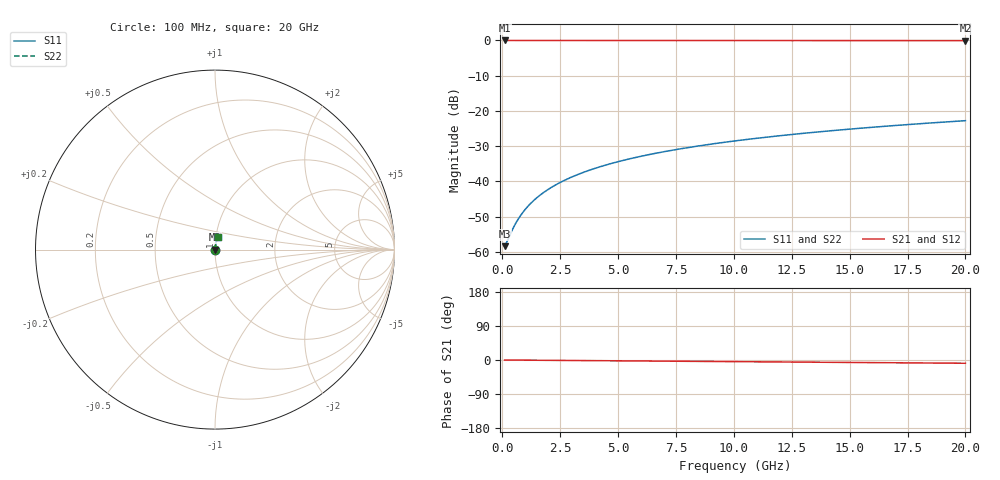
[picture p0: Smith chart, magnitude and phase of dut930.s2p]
! Touchstone file exported from HFSS 2026.1.0
!  File:  C:/ffzhzh/LocalFiles/Ansys_Project_Files/temp_train_TSV_930_1783186836_22436.aedt
!  Generated:  01:43:02 AM Jul  5, 2026
!  Design:  TSV
!  Project:  temp_train_TSV_930_1783186836_22436
! Variables:
!  h_bsmrdl = 2um
!  h_ox = 20um
!  h_rdl = 5um
!  h_sub = 77.77um
!  h_tmrdl = 5um
!  h_tsv = 77.77um
!  h_via = 3um
!  l_bsmrdl = 300um
!  l_sub = 405.66um
!  l_tmrdl = 200um
!  m_sub = 200um
!  pitch = 26.65um
!  r_tsv = 2.83um
!  s_tmrdl = 10um
!  w_bsmrdl = 18um
!  w_sub = 500um
!  w_tmrdl = 12um
!  x_tsv_center1 = 206um
!  x_tsv_center2 = 524um
!  x_tsv_center3 = 736um
!  x_tsv_center4 = 1054um
!  x_tsv_center5 = 1266um
!  x_tsv_center6 = 1584um
# GHz S MA R 50.000000
! Terminal data exported
! Port[1] = TSV1_1_T1
! Port[2] = TSV1_1_T2
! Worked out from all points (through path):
!   200 points, 100 MHz to 20 GHz, reference 50 ohm
!   highest |S21| = -0.01 dB at 100 MHz (marker M1); lowest = -0.1 dB at 20 GHz (marker M2)
!   group delay of S21, straight-line fit = 1.19 ps
!   lowest |S11| = -58.4 dB at 100 MHz (marker M3), VSWR 1.00, Z = 50.1 + j0.0395 ohm
!   |S11| at or under -10 dB: start of sweep to end of sweep
!   |S22| runs from -58.4 to -22.8 dB; largest |S21 - S12| = 5e-15
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0.1  0.0012 19.2  0.9989 -0.0  0.9989 -0.0  0.0012 19.2
! Gamma 0 0 0 0
! Port Impedance 50 0 50 0
0.2  0.001386 34.5  0.9989 -0.1  0.9989 -0.1  0.001386 34.5
0.4  0.001944 53.2  0.9988 -0.2  0.9988 -0.2  0.001944 53.2
0.5  0.002268 58.8  0.9988 -0.2  0.9988 -0.2  0.002268 58.8
0.7  0.002953 66.1  0.9988 -0.3  0.9988 -0.3  0.002953 66.1
0.8  0.003307 68.6  0.9988 -0.4  0.9988 -0.4  0.003307 68.6
1  0.00403 72.2  0.9988 -0.4  0.9988 -0.4  0.00403 72.2
1.3  0.005133 75.7  0.9988 -0.6  0.9988 -0.6  0.005133 75.7
1.7  0.006624 78.4  0.9987 -0.7  0.9987 -0.7  0.006624 78.4
2.2  0.008502 80.3  0.9987 -1.0  0.9987 -1.0  0.008502 80.3
2.8  0.01076 81.6  0.9986 -1.2  0.9986 -1.2  0.01076 81.6
3.5  0.01339 82.4  0.9985 -1.5  0.9985 -1.5  0.01339 82.4
4.2  0.01602 82.8  0.9984 -1.8  0.9984 -1.8  0.01602 82.8
5  0.019 82.9  0.9982 -2.2  0.9982 -2.2  0.019 82.9
5.9  0.02234 82.9  0.998 -2.6  0.998 -2.6  0.02234 82.9
6.8  0.02566 82.8  0.9978 -3.0  0.9978 -3.0  0.02566 82.8
8.3  0.03113 82.5  0.9974 -3.6  0.9974 -3.6  0.03113 82.5
10.1  0.03764 82.0  0.9969 -4.4  0.9969 -4.4  0.03764 82.0
11.7  0.04337 81.5  0.9965 -5.1  0.9965 -5.1  0.04337 81.5
13.4  0.04942 80.9  0.996 -5.8  0.996 -5.8  0.04942 80.9
16.7  0.06106 79.8  0.995 -7.2  0.995 -7.2  0.06106 79.8
20  0.07259 78.6  0.9939 -8.6  0.9939 -8.6  0.07259 78.6
